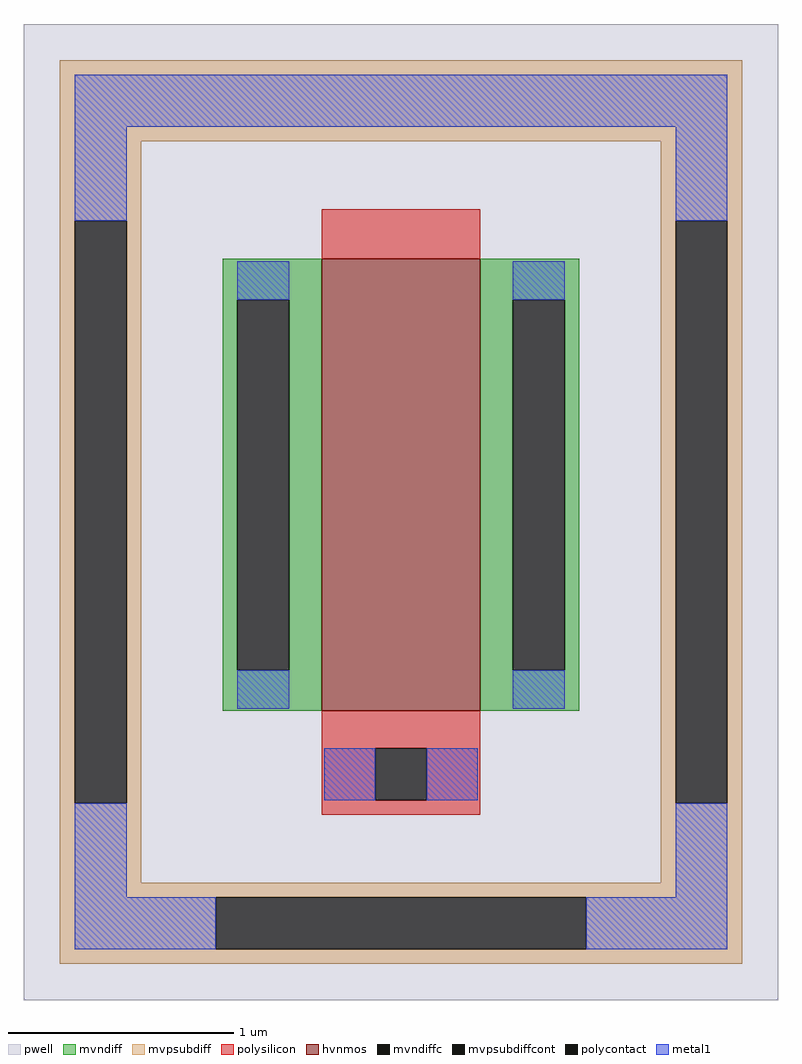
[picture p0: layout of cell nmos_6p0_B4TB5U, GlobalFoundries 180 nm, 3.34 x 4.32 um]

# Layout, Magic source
magic
tech gf180mcuD
magscale 1 10
<< pwell >>
rect -334 -432 334 432
<< hvnmos >>
rect -70 -176 70 224
<< mvndiff >>
rect -158 188 -70 224
rect -158 -140 -145 188
rect -99 -140 -70 188
rect -158 -176 -70 -140
rect 70 188 158 224
rect 70 -140 99 188
rect 145 -140 158 188
rect 70 -176 158 -140
<< mvndiffc >>
rect -145 -140 -99 188
rect 99 -140 145 188
<< mvpsubdiff >>
rect -302 328 302 400
rect -302 258 -230 328
rect -302 -258 -289 258
rect -243 -258 -230 258
rect 230 258 302 328
rect -302 -328 -230 -258
rect 230 -258 243 258
rect 289 -258 302 258
rect 230 -328 302 -258
rect -302 -341 302 -328
rect -302 -387 -164 -341
rect 164 -387 302 -341
rect -302 -400 302 -387
<< mvpsubdiffcont >>
rect -289 -258 -243 258
rect 243 -258 289 258
rect -164 -387 164 -341
<< polysilicon >>
rect -70 224 70 268
rect -70 -209 70 -176
rect -70 -255 -23 -209
rect 23 -255 70 -209
rect -70 -268 70 -255
<< polycontact >>
rect -23 -255 23 -209
<< metal1 >>
rect -289 341 289 387
rect -289 258 -243 341
rect 243 258 289 341
rect -145 188 -99 222
rect -145 -174 -99 -140
rect 99 188 145 222
rect 99 -174 145 -140
rect -68 -255 -23 -209
rect 23 -255 68 -209
rect -289 -341 -243 -258
rect 243 -341 289 -258
rect -289 -387 -164 -341
rect 164 -387 289 -341
<< properties >>
string FIXED_BBOX -266 -364 266 364
string GDS_END 79856
string GDS_FILE ../gds/simple_por.gds.gz
string GDS_START 76460
<< end >>
